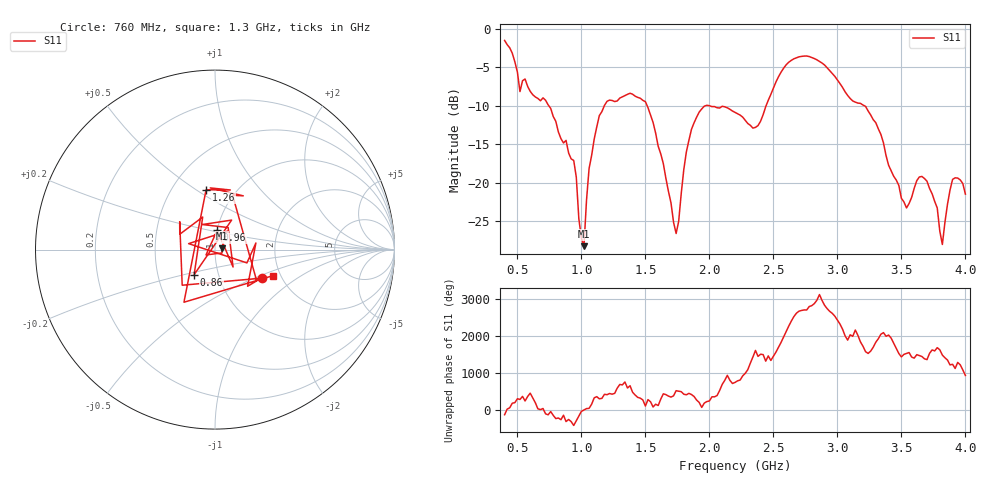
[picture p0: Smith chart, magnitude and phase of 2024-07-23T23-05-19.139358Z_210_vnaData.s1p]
!Created with skrf (http://scikit-rf.org).
# Hz S RI R 50.0
!freq ReS11 ImS11
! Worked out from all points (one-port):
!   181 points, 400 MHz to 4 GHz, reference 50 ohm
!   lowest |S11| = -28.2 dB at 1.02 GHz (marker M1), VSWR 1.08, Z = 53.9 + j0.886 ohm
!   |S11| at or under -10 dB: 1.514 GHz to 1.967 GHz (452.6 MHz wide, 26 % of centre); 2.003 GHz to 2.442 GHz (439.2 MHz wide, 19.8 % of centre); 3.212 GHz to end of sweep (the widest 3 of 4)
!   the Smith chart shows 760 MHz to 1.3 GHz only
!   S11 on the Smith chart (normalised r, x): 760 MHz: 1.58, -0.56; 860 MHz: 0.76, -0.22; 960 MHz: 1.00, +0.22; 1.26 GHz: 0.73, +0.55; 1.3 GHz: 1.83, -0.61
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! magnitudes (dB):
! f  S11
! 400 MHz  -1.5
! 520 MHz  -8.1
! 760 MHz  -10.3
! 860 MHz  -14.8
! 960 MHz  -19.3
! 980 MHz  -24.7
! 1.02 GHz  -28.2
! 1.06 GHz  -18.1
! 1.12 GHz  -12.7
! 1.26 GHz  -9.4
! 1.3 GHz  -9.0
! 1.5 GHz  -9.5
! 1.74 GHz  -26.6
! 1.76 GHz  -25.0
! 1.82 GHz  -16.0
! 1.92 GHz  -10.8
! 2.2 GHz  -10.8
! 2.38 GHz  -12.6
! 2.66 GHz  -3.9
! 2.88 GHz  -4.4
! 3.1 GHz  -9.0
! 3.3 GHz  -12.2
! 3.56 GHz  -22.7
! 3.7 GHz  -19.8
! 3.78 GHz  -23.3
! 3.82 GHz  -28.0
! 3.9 GHz  -19.5
! 4 GHz  -21.5
